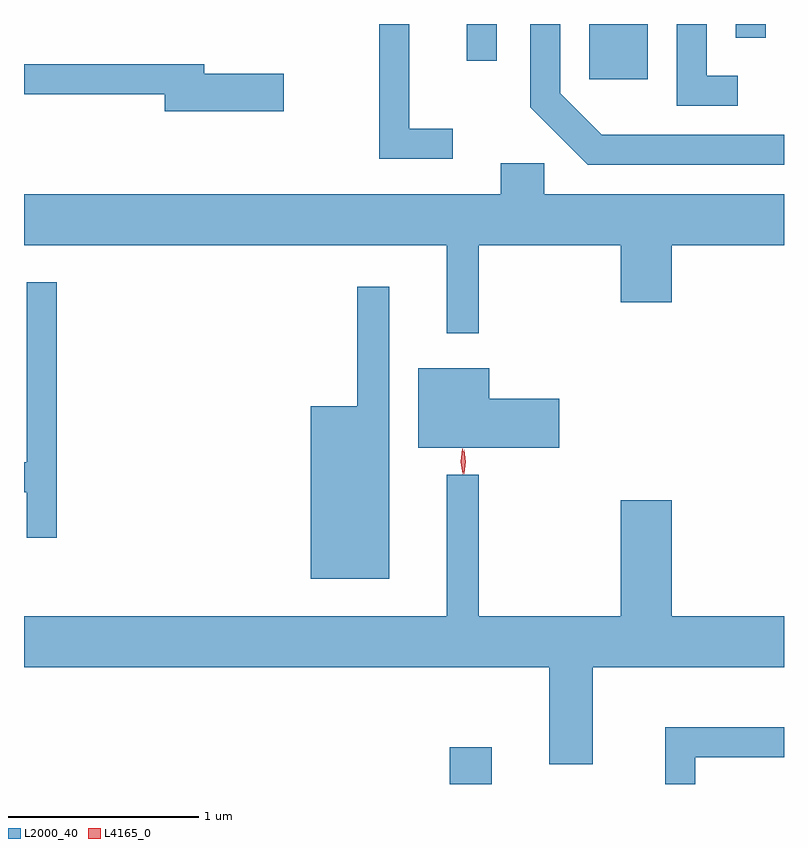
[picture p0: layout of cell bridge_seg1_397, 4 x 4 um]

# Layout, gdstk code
import gdstk
lib = gdstk.Library(unit=1e-6, precision=1e-09)
def R(c, l, rs):  # rectangles x0, y0, x1, y1
    for r in rs: c.add(gdstk.rectangle(r[:2], r[2:], *l))
def P(c, l, *ps):  # polygons
    for p in ps: c.add(gdstk.Polygon(p, *l))
L2000_40 = (2000, 40)
L4165_0 = (4165, 0)

bridge_seg1_397 = lib.new_cell('bridge_seg1_397')
R(bridge_seg1_397, L2000_40, [(433.956,967.781,434.179,967.974), (434.691,971.491,434.999,971.781), (434.046,971.588,434.204,971.781), (435.461,971.708,435.619,971.781)])
P(bridge_seg1_397, L2000_40, [(435.473,971.509),(435.309,971.509),(435.309,971.781),(435.151,971.781),(435.151,971.351),(435.473,971.351)],
  [(433.973,971.229),(433.744,971.229),(433.744,971.781),(433.586,971.781),(433.586,971.071),(433.973,971.071)],
  [(435.716,971.199),(434.757,971.199),(434.539,971.417),(434.539,971.781),(434.381,971.781),(434.381,971.344),(434.684,971.041),(435.716,971.041)],
  [(433.084,971.519),(432.664,971.519),(432.664,971.569),(431.716,971.569),(431.716,971.411),(432.456,971.411),(432.456,971.321),(433.084,971.321)],
  [(434.109,970.616),(434.856,970.616),(434.856,970.316),(435.124,970.316),(435.124,970.616),(435.716,970.616),(435.716,970.884),(434.454,970.884),(434.454,971.049),(434.226,971.049),(434.226,970.884),(431.716,970.884),(431.716,970.616),(433.941,970.616),(433.941,970.153),(434.109,970.153)],
  [(431.889,970.423),(431.731,970.423),(431.731,969.474),(431.716,969.474),(431.716,969.316),(431.731,969.316),(431.731,969.078),(431.889,969.078)],
  [(433.639,970.398),(433.471,970.398),(433.471,969.769),(433.226,969.769),(433.226,968.861),(433.639,968.861)],
  [(434.534,969.809),(434.164,969.809),(434.164,969.969),(433.791,969.969),(433.791,969.551),(434.534,969.551)],
  [(434.709,968.396),(435.716,968.396),(435.716,968.664),(435.124,968.664),(435.124,969.274),(434.856,969.274),(434.856,968.664),(434.109,968.664),(434.109,969.408),(433.941,969.408),(433.941,968.664),(431.716,968.664),(431.716,968.396),(434.481,968.396),(434.481,967.886),(434.709,967.886)],
  [(435.249,967.921),(435.716,967.921),(435.716,968.079),(435.091,968.079),(435.091,967.781),(435.249,967.781)])
P(bridge_seg1_397, L4165_0, [(434.024,969.41),(434.014,969.478),(434.023,969.546),(434.024,969.546),(434.024,969.546),(434.034,969.478),(434.026,969.41),(434.025,969.41)],
  [(434.031,969.413),(434.031,969.413),(434.022,969.476),(434.033,969.539),(434.033,969.54),(434.034,969.539),(434.042,969.476),(434.032,969.413)])

lib.write_gds('bridge_seg1_397.gds')
